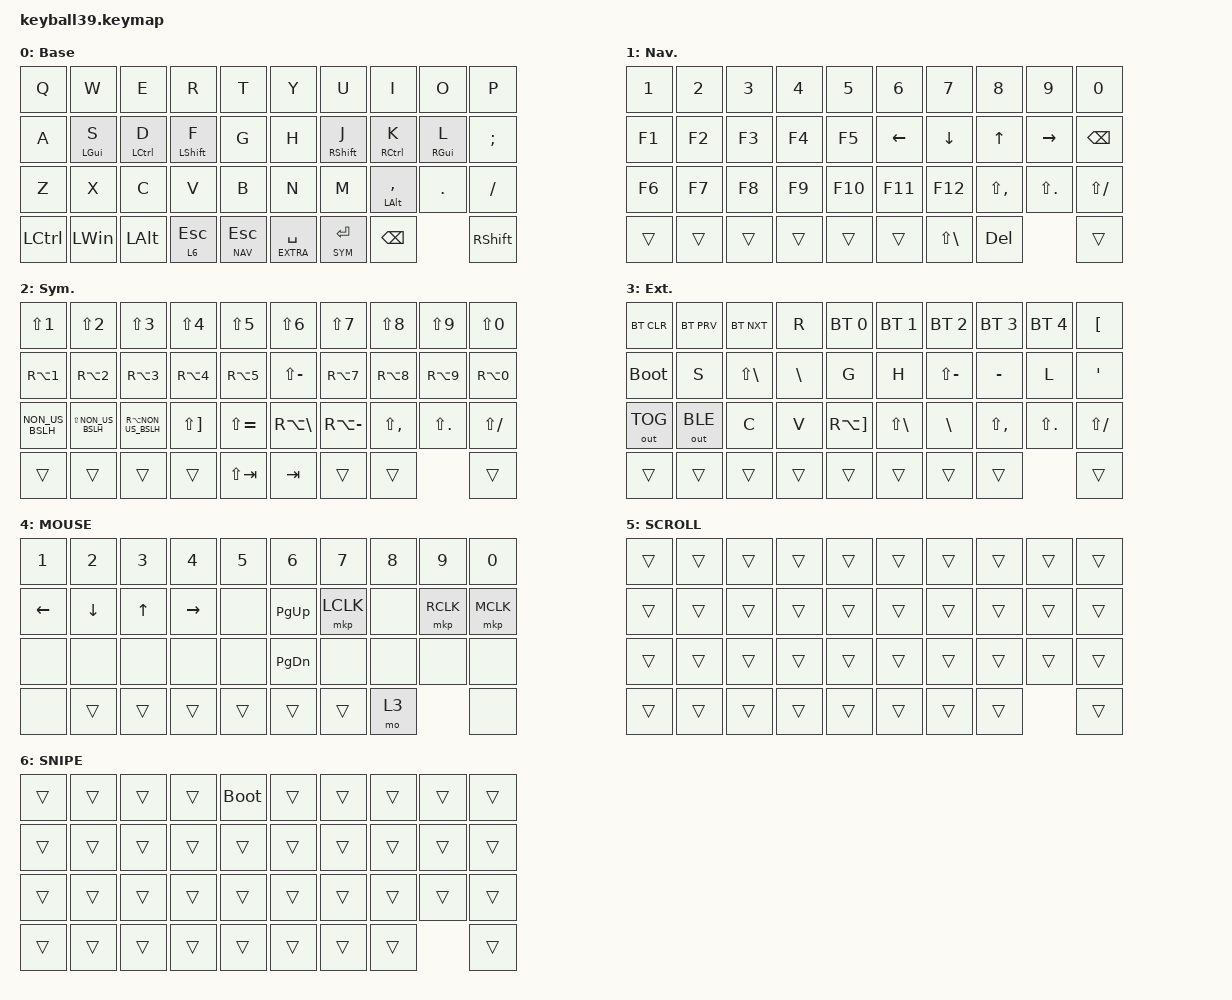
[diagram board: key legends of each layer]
// Layer definitions
#define DEFAULT 0
#define NAV 1
#define SYM 2
#define EXTRA 3
#define FUN 4
#define ES 5
#define MSE 6
#define MED 7

#include <behaviors/mouse_keys.dtsi>
#include <dt-bindings/zmk/mouse.h>
#include <behaviors.dtsi>
#include <dt-bindings/zmk/bt.h>
#include <dt-bindings/zmk/keys.h>
#include <dt-bindings/zmk/outputs.h>

&lt {
    tapping-term-ms = <240>;
    flavor = "balanced";
    quick-tap-ms = <150>;
};

&mt {
    tapping-term-ms = <200>;
    flavor = "tap-preferred";
    quick-tap-ms = <150>;
};

/* &caps_word { continue-list = <UNDERSCORE MINUS>; }; */

/ {
    // custom shift using mod-morph

    behaviors {
		// Enables holding the first mod-tap key
		// by performing a tap-release-hold sequence.
		// To use it: "&qt KEYCODE1 KEYCODE2"
		/* qt: quick_tap {
			compatible = "zmk,behavior-hold-tap";
			label = "QUICK_TAP";
			#binding-cells = <2>;
			flavor = "hold-preferred";
			tapping-term-ms = <200>;
			quick-tap-ms = <200>;
			bindings = <&kp>, <&kp>;
		}; */
        bhm: balanced_homerow_mods {
            compatible = "zmk,behavior-hold-tap";
            #binding-cells = <2>;
            tapping-term-ms = <200>;    // <---[[moderate duration]]
            quick-tap-ms = <0>;
            flavor = "balanced";
            bindings = <&kp>, <&kp>;
        };
	};

    macros {
        // sometimes my device thinks a modifier is being held down
		// pressing all modifiers fixes it.
		unstick: unstick {
			label = "ZM_unstick";
			compatible = "zmk,behavior-macro";
			#binding-cells = <0>;
			bindings = <&kp LSHIFT &kp RSHIFT &kp LCTRL &kp RCTRL &kp LALT &kp RALT &kp LGUI &kp RGUI>;
		};
    };

    keymap {
        compatible = "zmk,keymap";

        default_layer {
            label = "Base";
            bindings = <
&kp Q      &kp W      &kp E      &kp R      &kp T                                         &kp Y      &kp U      &kp I      &kp O      &kp P
 &kp A     &bhm LEFT_GUI S     &bhm LEFT_CONTROL D  &bhm LEFT_SHIFT F &kp G &kp H  &bhm RIGHT_SHIFT J     &bhm RIGHT_CONTROL K &bhm RIGHT_GUI L  &kp SEMICOLON
&kp Z    &kp X       &kp C      &kp V      &kp B          &kp N   &kp M   &bhm LEFT_ALT COMMA  &kp DOT    &kp SLASH
&kp LCTRL  &kp LEFT_WIN  &kp LALT  &lt 6 ESCAPE   &lt NAV ESC &lt EXTRA SPACE    &lt SYM ENTER &kp BSPC                            &kp RSHFT
            >;
        };

        nav_layer {
            label = "Nav.";
            bindings = <
            &kp N1      &kp N2    &kp N3   &kp N4      &kp N5          &kp N6      &kp N7    &kp N8      &kp N9     &kp N0
            &kp F1      &kp F2   &kp F3       &kp F4     &kp F5         &kp LEFT   &kp DOWN   &kp UP     &kp RIGHT &kp BSPC
            &kp F6      &kp F7     &kp F8     &kp F9     &kp F10        &kp F11    &kp F12 &kp LS(COMMA) &kp LS(DOT) &kp LS(SLASH)
            &trans        &trans        &trans        &trans        &trans        &trans   &kp LS(BACKSLASH) &kp DEL                         &trans
            >;
        };

        sym_layer {
            label = "Sym.";
            bindings = <
            &kp LS(N1) &kp LS(N2) &kp LS(N3) &kp LS(N4) &kp LS(N5)    &kp LS(N6) &kp LS(N7) &kp LS(N8)  &kp LS(N9) &kp LS(N0)
            &kp RA(N1) &kp RA(N2) &kp RA(N3) &kp RA(N4) &kp RA(N5)    &kp LS(MINUS) &kp RA(N7) &kp RA(N8) &kp RA(N9) &kp RA(N0)
            &kp NON_US_BSLH &kp LS(NON_US_BSLH) &kp RA(NON_US_BSLH) &kp LS(RIGHT_BRACKET) &kp LS(EQUAL) &kp RA(BACKSLASH) &kp RA(MINUS) &kp LS(COMMA) &kp LS(DOT) &kp LS(SLASH)
            &trans     &trans     &trans    &trans   &kp LS(TAB) &kp TAB  &trans  &trans      &trans
            >;
        };

        extra_layer {
            label = "Ext.";
            bindings = <
            &bt BT_CLR  &bt BT_PRV &bt BT_NXT &kp R &bt BT_SEL 0 &bt BT_SEL 1 &bt BT_SEL 2 &bt BT_SEL 3 &bt BT_SEL 4 &kp LEFT_BRACKET
            &bootloader   &kp S &kp LS(BACKSLASH) &kp BACKSLASH &kp G   &kp H     &kp LS(MINUS) &kp MINUS &kp L   &kp SINGLE_QUOTE
            &out OUT_TOG &out OUT_BLE &kp C    &kp V   &kp RA(RIGHT_BRACKET)  &kp LS(BACKSLASH) &kp BACKSLASH &kp LS(COMMA) &kp LS(DOT) &kp LS(SLASH)
            &trans  &trans   &trans   &trans   &trans  &trans  &trans  &trans                       &trans
            >;
        };

        mouse_layer {
            label = "MOUSE";
            bindings = <
&kp N1          &kp N2          &kp N3        &kp N4     &kp N5                  &kp N6         &kp N7     &kp N8  &kp N9     &kp N0
&kp LEFT_ARROW  &kp DOWN_ARROW  &kp UP_ARROW  &kp RIGHT  &none                   &kp PAGE_UP    &mkp LCLK  &none   &mkp RCLK  &mkp MCLK
&none           &none           &none         &none      &none                   &kp PAGE_DOWN  &none      &none   &none      &none
&none           &trans          &trans        &trans     &trans  &trans  &trans  &mo 3                                        &none
            >;
        };

        scroll_layer {
            label = "SCROLL";
            bindings = <
&trans  &trans  &trans  &trans  &trans                  &trans  &trans  &trans  &trans  &trans
&trans  &trans  &trans  &trans  &trans                  &trans  &trans  &trans  &trans  &trans
&trans  &trans  &trans  &trans  &trans                  &trans  &trans  &trans  &trans  &trans
&trans  &trans  &trans  &trans  &trans  &trans  &trans  &trans                          &trans
            >;
        };

        snipe_layer {
            label = "SNIPE";
            bindings = <
&trans  &trans  &trans  &trans  &bootloader                  &trans  &trans  &trans  &trans  &trans
&trans  &trans  &trans  &trans  &trans                       &trans  &trans  &trans  &trans  &trans
&trans  &trans  &trans  &trans  &trans                       &trans  &trans  &trans  &trans  &trans
&trans  &trans  &trans  &trans  &trans       &trans  &trans  &trans                          &trans
            >;
        };
    };
};
